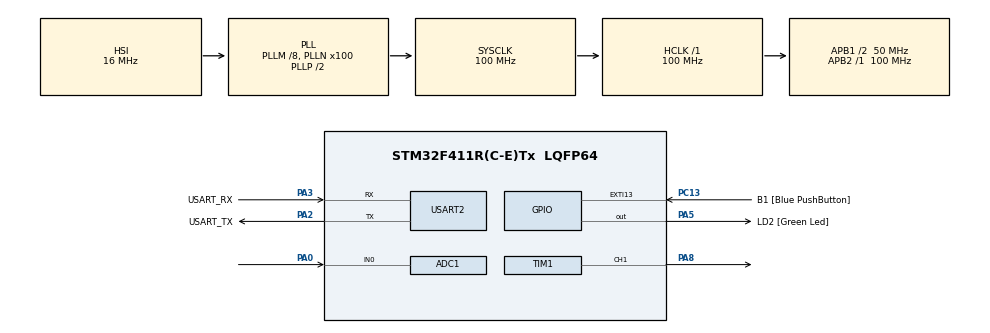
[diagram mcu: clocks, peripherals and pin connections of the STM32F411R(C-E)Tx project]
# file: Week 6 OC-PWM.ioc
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ADC1.Channel-0\#ChannelRegularConversion=ADC_CHANNEL_0
ADC1.ExternalTrigConv=ADC_EXTERNALTRIGCONV_T3_TRGO
ADC1.NbrOfConversionFlag=1
ADC1.Rank-0\#ChannelRegularConversion=1
ADC1.SamplingTime-0\#ChannelRegularConversion=ADC_SAMPLETIME_144CYCLES
ADC1.master=1
Mcu.Family=STM32F4
Mcu.Name=STM32F411R(C-E)Tx
Mcu.Package=LQFP64
NVIC.ADC_IRQn=true\:0\:0\:false\:false\:true\:true\:true
NVIC.PriorityGroup=NVIC_PRIORITYGROUP_0
NVIC.TIM1_TRG_COM_TIM11_IRQn=true\:0\:0\:false\:false\:true\:true\:true
PA0-WKUP.Signal=ADCx_IN0
PA13.GPIO_Label=TMS
PA13.Mode=Serial_Wire
PA13.Signal=SYS_JTMS-SWDIO
PA14.GPIO_Label=TCK
PA14.Mode=Serial_Wire
PA14.Signal=SYS_JTCK-SWCLK
PA2.GPIO_Label=USART_TX
PA2.Mode=Asynchronous
PA2.Signal=USART2_TX
PA3.GPIO_Label=USART_RX
PA3.Mode=Asynchronous
PA3.Signal=USART2_RX
PA5.GPIO_Label=LD2 [Green Led]
PA5.Signal=GPIO_Output
PA8.Signal=S_TIM1_CH1
PB3.GPIO_Label=SWO
PB3.Signal=SYS_JTDO-SWO
PC13-ANTI_TAMP.GPIO_Label=B1 [Blue PushButton]
PC13-ANTI_TAMP.GPIO_ModeDefaultEXTI=GPIO_MODE_IT_FALLING
PC13-ANTI_TAMP.Signal=GPXTI13
PC14-OSC32_IN.Mode=LSE-External-Oscillator
PC14-OSC32_IN.Signal=RCC_OSC32_IN
PC15-OSC32_OUT.Mode=LSE-External-Oscillator
PC15-OSC32_OUT.Signal=RCC_OSC32_OUT
PH0\ -\ OSC_IN.Mode=HSE-External-Clock-Source
PH0\ -\ OSC_IN.Signal=RCC_OSC_IN
PH1\ -\ OSC_OUT.Mode=HSE-External-Clock-Source
PH1\ -\ OSC_OUT.Signal=RCC_OSC_OUT
ProjectManager.HeapSize=0x200
ProjectManager.StackSize=0x400
ProjectManager.TargetToolchain=STM32CubeIDE
RCC.48MHZClocksFreq_Value=50000000
RCC.AHBFreq_Value=100000000
RCC.APB1CLKDivider=RCC_HCLK_DIV2
RCC.APB1Freq_Value=50000000
RCC.APB1TimFreq_Value=100000000
RCC.APB2Freq_Value=100000000
RCC.APB2TimFreq_Value=100000000
RCC.CortexFreq_Value=100000000
RCC.FLatency-AdvancedSettings=FLASH_LATENCY_3
RCC.HCLKFreq_Value=100000000
RCC.HSE_VALUE=8000000
RCC.HSI_VALUE=16000000
RCC.PLLM=8
RCC.PLLN=100
RCC.SYSCLKFreq_VALUE=100000000
RCC.SYSCLKSource=RCC_SYSCLKSOURCE_PLLCLK
RCC.VCOOutputFreq_Value=200000000
SH.ADCx_IN0.0=ADC1_IN0,IN0
SH.S_TIM1_CH1.0=TIM1_CH1,PWM Generation1 CH1
TIM1.Channel-PWM\ Generation1\ CH1=TIM_CHANNEL_1
TIM1.Period=10000
TIM11.Prescaler=99
TIM3.AutoReloadPreload=TIM_AUTORELOAD_PRELOAD_DISABLE
TIM3.Period=1000
TIM3.Prescaler=99
TIM3.TIM_MasterOutputTrigger=TIM_TRGO_UPDATE
USART2.VirtualMode=VM_ASYNC
VP_TIM11_VS_ClockSourceINT.Mode=Enable_Timer
VP_TIM1_VS_ClockSourceINT.Mode=Internal
VP_TIM3_VS_ClockSourceINT.Mode=Internal
board=NUCLEO-F411RE

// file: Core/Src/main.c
/* USER CODE BEGIN Header */
/**
  ******************************************************************************
  * @file           : main.c
  * @brief          : Main program body
  ******************************************************************************
  * @attention
  *
  * <h2><center>&copy; Copyright (c) 2021 STMicroelectronics.
  * All rights reserved.</center></h2>
  *
  * This software component is licensed by ST under BSD 3-Clause license,
  * the "License"; You may not use this file except in compliance with the
  * License. You may obtain a copy of the License at:
  *                        opensource.org/licenses/BSD-3-Clause
  *
  ******************************************************************************
  */
/* USER CODE END Header */
#include "main.h"

ADC_HandleTypeDef hadc1;

TIM_HandleTypeDef htim1;
TIM_HandleTypeDef htim3;
TIM_HandleTypeDef htim11;

UART_HandleTypeDef huart2;

/* USER CODE BEGIN PV */
uint8_t ADCUpdateFlag = 0;
uint16_t ADCFeedBack = 0;

uint16_t PWMOut = 10000;
float vout = 0.00;
uint64_t _micro = 0;
uint64_t TimeOutputLoop = 0;
/* USER CODE END PV */

void SystemClock_Config(void);
static void MX_GPIO_Init(void);
static void MX_USART2_UART_Init(void);
static void MX_ADC1_Init(void);
static void MX_TIM1_Init(void);
static void MX_TIM3_Init(void);
static void MX_TIM11_Init(void);
/* USER CODE BEGIN PFP */
uint64_t micros();
/* USER CODE END PFP */

int main(void)
{

  /* MCU Configuration--------------------------------------------------------*/

  /* Reset of all peripherals, Initializes the Flash interface and the Systick. */
  HAL_Init();

  /* Configure the system clock */
  SystemClock_Config();

  /* Initialize all configured peripherals */
  MX_GPIO_Init();
  MX_USART2_UART_Init();
  MX_ADC1_Init();
  MX_TIM1_Init();
  MX_TIM3_Init();
  MX_TIM11_Init();
  /* USER CODE BEGIN 2 */
  HAL_ADC_Start_IT(&hadc1);
  	HAL_TIM_Base_Start(&htim3);

  	HAL_TIM_Base_Start(&htim1);
  	HAL_TIM_PWM_Start(&htim1, TIM_CHANNEL_1);

  	HAL_TIM_Base_Start_IT(&htim11);
  /* USER CODE END 2 */

  /* Infinite loop */
  while (1)
  {

    /* USER CODE BEGIN 3 */
	  if (micros() - TimeOutputLoop > 1000)
	  {
		TimeOutputLoop = micros();
		// #001

		__HAL_TIM_SET_COMPARE(&htim1, TIM_CHANNEL_1, PWMOut);
		if(vout < 1.000)
			{
				PWMOut += 1 ;
			}
			if(vout > 1.000)
			{
				PWMOut -= 1 ;
			}
			vout = ADCFeedBack*3.3/4096.00;
		}

		if (ADCUpdateFlag) {
			ADCUpdateFlag = 0;
			//#002
		}

  }
  /* USER CODE END 3 */
}

void SystemClock_Config(void)
{
  RCC_OscInitTypeDef RCC_OscInitStruct = {0};
  RCC_ClkInitTypeDef RCC_ClkInitStruct = {0};

  /** Configure the main internal regulator output voltage
  */
  __HAL_RCC_PWR_CLK_ENABLE();
  __HAL_PWR_VOLTAGESCALING_CONFIG(PWR_REGULATOR_VOLTAGE_SCALE1);
  /** Initializes the RCC Oscillators according to the specified parameters
  * in the RCC_OscInitTypeDef structure.
  */
  RCC_OscInitStruct.OscillatorType = RCC_OSCILLATORTYPE_HSI;
  RCC_OscInitStruct.HSIState = RCC_HSI_ON;
  RCC_OscInitStruct.HSICalibrationValue = RCC_HSICALIBRATION_DEFAULT;
  RCC_OscInitStruct.PLL.PLLState = RCC_PLL_ON;
  RCC_OscInitStruct.PLL.PLLSource = RCC_PLLSOURCE_HSI;
  RCC_OscInitStruct.PLL.PLLM = 8;
  RCC_OscInitStruct.PLL.PLLN = 100;
  RCC_OscInitStruct.PLL.PLLP = RCC_PLLP_DIV2;
  RCC_OscInitStruct.PLL.PLLQ = 4;
  if (HAL_RCC_OscConfig(&RCC_OscInitStruct) != HAL_OK)
  {
    Error_Handler();
  }
  /** Initializes the CPU, AHB and APB buses clocks
  */
  RCC_ClkInitStruct.ClockType = RCC_CLOCKTYPE_HCLK|RCC_CLOCKTYPE_SYSCLK
                              |RCC_CLOCKTYPE_PCLK1|RCC_CLOCKTYPE_PCLK2;
  RCC_ClkInitStruct.SYSCLKSource = RCC_SYSCLKSOURCE_PLLCLK;
  RCC_ClkInitStruct.AHBCLKDivider = RCC_SYSCLK_DIV1;
  RCC_ClkInitStruct.APB1CLKDivider = RCC_HCLK_DIV2;
  RCC_ClkInitStruct.APB2CLKDivider = RCC_HCLK_DIV1;

  if (HAL_RCC_ClockConfig(&RCC_ClkInitStruct, FLASH_LATENCY_3) != HAL_OK)
  {
    Error_Handler();
  }
}

static void MX_ADC1_Init(void)
{

  ADC_ChannelConfTypeDef sConfig = {0};

  /** Configure the global features of the ADC (Clock, Resolution, Data Alignment and number of conversion)
  */
  hadc1.Instance = ADC1;
  hadc1.Init.ClockPrescaler = ADC_CLOCK_SYNC_PCLK_DIV4;
  hadc1.Init.Resolution = ADC_RESOLUTION_12B;
  hadc1.Init.ScanConvMode = DISABLE;
  hadc1.Init.ContinuousConvMode = DISABLE;
  hadc1.Init.DiscontinuousConvMode = DISABLE;
  hadc1.Init.ExternalTrigConvEdge = ADC_EXTERNALTRIGCONVEDGE_RISING;
  hadc1.Init.ExternalTrigConv = ADC_EXTERNALTRIGCONV_T3_TRGO;
  hadc1.Init.DataAlign = ADC_DATAALIGN_RIGHT;
  hadc1.Init.NbrOfConversion = 1;
  hadc1.Init.DMAContinuousRequests = DISABLE;
  hadc1.Init.EOCSelection = ADC_EOC_SINGLE_CONV;
  if (HAL_ADC_Init(&hadc1) != HAL_OK)
  {
    Error_Handler();
  }
  /** Configure for the selected ADC regular channel its corresponding rank in the sequencer and its sample time.
  */
  sConfig.Channel = ADC_CHANNEL_0;
  sConfig.Rank = 1;
  sConfig.SamplingTime = ADC_SAMPLETIME_144CYCLES;
  if (HAL_ADC_ConfigChannel(&hadc1, &sConfig) != HAL_OK)
  {
    Error_Handler();
  }

}

static void MX_TIM1_Init(void)
{

  TIM_ClockConfigTypeDef sClockSourceConfig = {0};
  TIM_MasterConfigTypeDef sMasterConfig = {0};
  TIM_OC_InitTypeDef sConfigOC = {0};
  TIM_BreakDeadTimeConfigTypeDef sBreakDeadTimeConfig = {0};

  htim1.Instance = TIM1;
  htim1.Init.Prescaler = 0;
  htim1.Init.CounterMode = TIM_COUNTERMODE_UP;
  htim1.Init.Period = 10000;
  htim1.Init.ClockDivision = TIM_CLOCKDIVISION_DIV1;
  htim1.Init.RepetitionCounter = 0;
  htim1.Init.AutoReloadPreload = TIM_AUTORELOAD_PRELOAD_DISABLE;
  if (HAL_TIM_Base_Init(&htim1) != HAL_OK)
  {
    Error_Handler();
  }
  sClockSourceConfig.ClockSource = TIM_CLOCKSOURCE_INTERNAL;
  if (HAL_TIM_ConfigClockSource(&htim1, &sClockSourceConfig) != HAL_OK)
  {
    Error_Handler();
  }
  if (HAL_TIM_PWM_Init(&htim1) != HAL_OK)
  {
    Error_Handler();
  }
  sMasterConfig.MasterOutputTrigger = TIM_TRGO_RESET;
  sMasterConfig.MasterSlaveMode = TIM_MASTERSLAVEMODE_DISABLE;
  if (HAL_TIMEx_MasterConfigSynchronization(&htim1, &sMasterConfig) != HAL_OK)
  {
    Error_Handler();
  }
  sConfigOC.OCMode = TIM_OCMODE_PWM1;
  sConfigOC.Pulse = 0;
  sConfigOC.OCPolarity = TIM_OCPOLARITY_HIGH;
  sConfigOC.OCNPolarity = TIM_OCNPOLARITY_HIGH;
  sConfigOC.OCFastMode = TIM_OCFAST_DISABLE;
  sConfigOC.OCIdleState = TIM_OCIDLESTATE_RESET;
  sConfigOC.OCNIdleState = TIM_OCNIDLESTATE_RESET;
  if (HAL_TIM_PWM_ConfigChannel(&htim1, &sConfigOC, TIM_CHANNEL_1) != HAL_OK)
  {
    Error_Handler();
  }
  sBreakDeadTimeConfig.OffStateRunMode = TIM_OSSR_DISABLE;
  sBreakDeadTimeConfig.OffStateIDLEMode = TIM_OSSI_DISABLE;
  sBreakDeadTimeConfig.LockLevel = TIM_LOCKLEVEL_OFF;
  sBreakDeadTimeConfig.DeadTime = 0;
  sBreakDeadTimeConfig.BreakState = TIM_BREAK_DISABLE;
  sBreakDeadTimeConfig.BreakPolarity = TIM_BREAKPOLARITY_HIGH;
  sBreakDeadTimeConfig.AutomaticOutput = TIM_AUTOMATICOUTPUT_DISABLE;
  if (HAL_TIMEx_ConfigBreakDeadTime(&htim1, &sBreakDeadTimeConfig) != HAL_OK)
  {
    Error_Handler();
  }
  HAL_TIM_MspPostInit(&htim1);

}

static void MX_TIM3_Init(void)
{

  TIM_ClockConfigTypeDef sClockSourceConfig = {0};
  TIM_MasterConfigTypeDef sMasterConfig = {0};

  htim3.Instance = TIM3;
  htim3.Init.Prescaler = 99;
  htim3.Init.CounterMode = TIM_COUNTERMODE_UP;
  htim3.Init.Period = 1000;
  htim3.Init.ClockDivision = TIM_CLOCKDIVISION_DIV1;
  htim3.Init.AutoReloadPreload = TIM_AUTORELOAD_PRELOAD_DISABLE;
  if (HAL_TIM_Base_Init(&htim3) != HAL_OK)
  {
    Error_Handler();
  }
  sClockSourceConfig.ClockSource = TIM_CLOCKSOURCE_INTERNAL;
  if (HAL_TIM_ConfigClockSource(&htim3, &sClockSourceConfig) != HAL_OK)
  {
    Error_Handler();
  }
  sMasterConfig.MasterOutputTrigger = TIM_TRGO_UPDATE;
  sMasterConfig.MasterSlaveMode = TIM_MASTERSLAVEMODE_DISABLE;
  if (HAL_TIMEx_MasterConfigSynchronization(&htim3, &sMasterConfig) != HAL_OK)
  {
    Error_Handler();
  }

}

static void MX_TIM11_Init(void)
{

  htim11.Instance = TIM11;
  htim11.Init.Prescaler = 99;
  htim11.Init.CounterMode = TIM_COUNTERMODE_UP;
  htim11.Init.Period = 65535;
  htim11.Init.ClockDivision = TIM_CLOCKDIVISION_DIV1;
  htim11.Init.AutoReloadPreload = TIM_AUTORELOAD_PRELOAD_DISABLE;
  if (HAL_TIM_Base_Init(&htim11) != HAL_OK)
  {
    Error_Handler();
  }

}

static void MX_USART2_UART_Init(void)
{

  huart2.Instance = USART2;
  huart2.Init.BaudRate = 115200;
  huart2.Init.WordLength = UART_WORDLENGTH_8B;
  huart2.Init.StopBits = UART_STOPBITS_1;
  huart2.Init.Parity = UART_PARITY_NONE;
  huart2.Init.Mode = UART_MODE_TX_RX;
  huart2.Init.HwFlowCtl = UART_HWCONTROL_NONE;
  huart2.Init.OverSampling = UART_OVERSAMPLING_16;
  if (HAL_UART_Init(&huart2) != HAL_OK)
  {
    Error_Handler();
  }

}

static void MX_GPIO_Init(void)
{
  GPIO_InitTypeDef GPIO_InitStruct = {0};

  /* GPIO Ports Clock Enable */
  __HAL_RCC_GPIOC_CLK_ENABLE();
  __HAL_RCC_GPIOH_CLK_ENABLE();
  __HAL_RCC_GPIOA_CLK_ENABLE();
  __HAL_RCC_GPIOB_CLK_ENABLE();

  /*Configure GPIO pin Output Level */
  HAL_GPIO_WritePin(LD2_GPIO_Port, LD2_Pin, GPIO_PIN_RESET);

  /*Configure GPIO pin : B1_Pin */
  GPIO_InitStruct.Pin = B1_Pin;
  GPIO_InitStruct.Mode = GPIO_MODE_IT_FALLING;
  GPIO_InitStruct.Pull = GPIO_NOPULL;
  HAL_GPIO_Init(B1_GPIO_Port, &GPIO_InitStruct);

  /*Configure GPIO pin : LD2_Pin */
  GPIO_InitStruct.Pin = LD2_Pin;
  GPIO_InitStruct.Mode = GPIO_MODE_OUTPUT_PP;
  GPIO_InitStruct.Pull = GPIO_NOPULL;
  GPIO_InitStruct.Speed = GPIO_SPEED_FREQ_LOW;
  HAL_GPIO_Init(LD2_GPIO_Port, &GPIO_InitStruct);

}

/* USER CODE BEGIN 4 */
void HAL_ADC_ConvCpltCallback(ADC_HandleTypeDef *hadc) {
	ADCFeedBack = HAL_ADC_GetValue(&hadc1);
	ADCUpdateFlag = 1;
}
void HAL_TIM_PeriodElapsedCallback(TIM_HandleTypeDef *htim) {
	if (htim == &htim11) {
		_micro += 65535;
	}
}

__inline__ uint64_t micros() {
	return _micro + htim11.Instance->CNT;
}
/* USER CODE END 4 */

void Error_Handler(void)
{
  __disable_irq();
  while (1)
  {
  }
}

/************************ (C) COPYRIGHT STMicroelectronics *****END OF FILE****/
